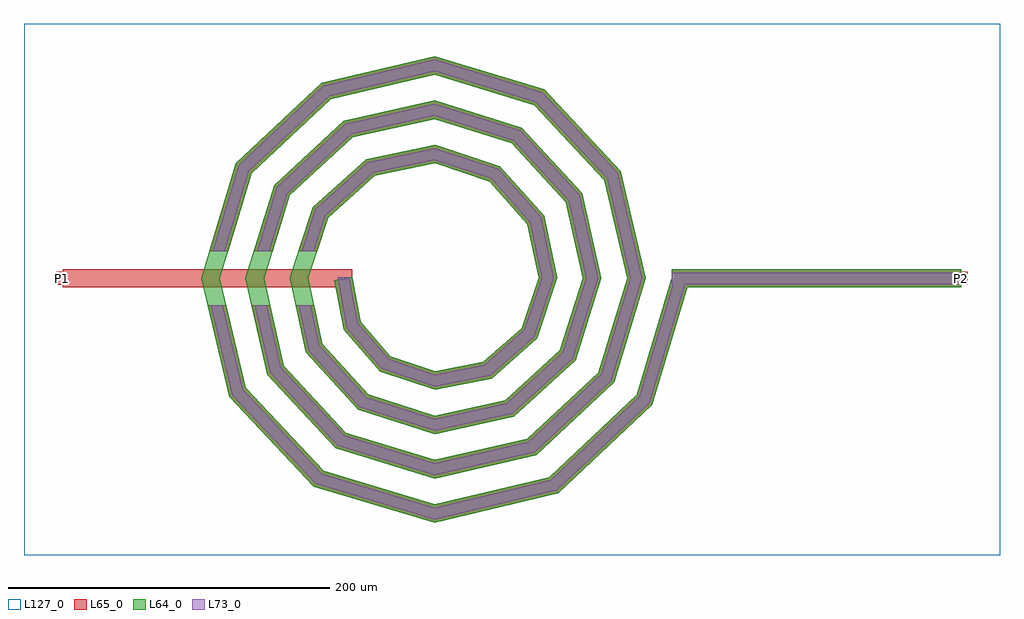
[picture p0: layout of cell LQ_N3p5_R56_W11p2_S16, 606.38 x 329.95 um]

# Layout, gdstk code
import gdstk
lib = gdstk.Library(unit=1e-6, precision=1e-09)
def R(c, l, rs):  # rectangles x0, y0, x1, y1
    for r in rs: c.add(gdstk.rectangle(r[:2], r[2:], *l))
def P(c, l, *ps):  # polygons
    for p in ps: c.add(gdstk.Polygon(p, *l))
L64_0 = (64, 0)
L65_0 = (65, 0)
L73_0 = (73, 0)
L127_0 = (127, 0)

lq_n3p5_r56_w11p2_s16 = lib.new_cell('LQ_N3p5_R56_W11p2_S16')
R(lq_n3p5_r56_w11p2_s16, L64_0, [(147.338,-5.6,327.338,5.6)])
P(lq_n3p5_r56_w11p2_s16, L64_0, [(-45.821,-26.94),(-27.372,-48.218),(0.39,-57.735),(30.34,-51.797),(54.152,-30.845),(64.612,0.352),(57.77,33.747),(34.312,60.091),(0.321,71.488),(-37.16,63.74),(-66.032,37.774),(-78.365,0.294),(-69.708,-40.577),(-41.233,-71.976),(0.272,-85.242),(43.997,-75.675),(77.922,-44.689),(92.12,0.253),(81.64,47.42),(48.143,83.87),(0.237,98.997),(-50.845,87.604),(-89.818,51.595),(-105.875,0.222),(-93.567,-54.272),(-55.045,-95.768),(0.209,-112.753),(57.7,-99.529),(101.718,-58.495),(119.63,0.198),(105.491,61.13),(61.943,107.669),(0.187,126.508),(-64.56,111.453),(-113.621,65.39),(-133.386,0.178),(-117.414,-67.991),(-68.836,-119.573),(0.17,-140.264),(71.423,-123.374),(125.526,-72.282),(147.571,1.601),(158.304,-1.601),(135.399,-78.363),(76.929,-133.58),(0.17,-151.855),(-74.93,-129.438),(-127.627,-73.483),(-144.977,0.178),(-123.477,71.499),(-70.036,121.674),(0.187,138.098),(68.068,117.516),(115.722,66.588),(131.22,0.198),(111.553,-64.638),(63.139,-109.771),(0.209,-124.341),(-61.209,-105.59),(-103.82,-59.689),(-117.463,0.222),(-99.627,57.781),(-56.238,97.87),(0.237,110.584),(54.355,93.662),(91.921,52.785),(103.705,0.253),(87.696,-50.931),(49.33,-85.973),(0.272,-96.826),(-47.509,-81.729),(-80.026,-45.872),(-89.947,0.294),(-75.76,44.089),(-42.411,74.081),(0.321,83.068),(40.674,69.788),(68.137,38.946),(76.188,0.352),(63.813,-37.262),(35.475,-62.197),(0.39,-69.308),(-33.857,-57.834),(-56.26,-31.997),(-62.145,-1.046),(-51.142,1.046)])
R(lq_n3p5_r56_w11p2_s16, L65_0, [(-231.044,-5.6,-51.044,5.6), (147.338,-5.6,327.338,5.6), (-235.044,-4,-227.044,4), (323.338,-4,331.338,4)])
P(lq_n3p5_r56_w11p2_s16, L65_0, [(-117.414,-67.991),(-68.836,-119.573),(0.17,-140.264),(71.423,-123.374),(125.526,-72.282),(147.572,1.601),(158.304,-1.601),(135.399,-78.363),(76.929,-133.58),(0.17,-151.855),(-74.931,-129.438),(-127.627,-73.483),(-140.978,-16.8),(-129.471,-16.8)],
  [(-93.567,-54.272),(-55.045,-95.768),(0.209,-112.753),(57.7,-99.53),(101.718,-58.495),(119.631,0.198),(105.491,61.13),(61.943,107.669),(0.187,126.508),(-64.56,111.453),(-113.621,65.39),(-128.268,16.8),(-139.966,16.8),(-123.477,71.499),(-70.036,121.674),(0.187,138.098),(68.068,117.516),(115.722,66.588),(131.22,0.198),(111.553,-64.638),(63.139,-109.771),(0.209,-124.341),(-61.209,-105.59),(-103.82,-59.689),(-113.587,-16.8),(-102.1,-16.8)],
  [(-69.708,-40.577),(-41.233,-71.976),(0.272,-85.242),(43.997,-75.675),(77.922,-44.689),(92.12,0.253),(81.64,47.42),(48.143,83.87),(0.237,98.997),(-50.845,87.604),(-89.818,51.595),(-100.6,16.8),(-112.326,16.8),(-99.627,57.781),(-56.238,97.87),(0.237,110.584),(54.355,93.662),(91.921,52.785),(103.705,0.253),(87.696,-50.931),(49.33,-85.973),(0.272,-96.826),(-47.509,-81.729),(-80.026,-45.872),(-86.274,-16.8),(-74.818,-16.8)],
  [(-27.372,-48.218),(0.39,-57.735),(30.34,-51.797),(54.152,-30.845),(64.612,0.352),(57.77,33.747),(34.312,60.091),(0.321,71.488),(-37.16,63.74),(-66.032,37.774),(-72.827,16.8),(-84.6,16.8),(-75.76,44.089),(-42.411,74.081),(0.321,83.068),(40.674,69.788),(68.137,38.946),(76.188,0.352),(63.813,-37.262),(35.475,-62.197),(0.39,-69.308),(-33.858,-57.834),(-56.26,-31.997),(-62.145,-1.046),(-51.142,1.046),(-45.821,-26.94)])
R(lq_n3p5_r56_w11p2_s16, L73_0, [(147.338,-3.6,327.338,3.6)])
P(lq_n3p5_r56_w11p2_s16, L73_0, [(-119.238,-68.972),(-69.925,-121.335),(0.109,-142.334),(72.406,-125.197),(127.289,-73.368),(149.488,1.029),(156.387,-1.029),(133.636,-77.277),(75.946,-131.757),(0.109,-149.785),(-73.842,-127.677),(-125.803,-72.502),(-138.923,-16.8),(-131.526,-16.8)],
  [(-95.398,-55.24),(-56.146,-97.522),(0.134,-114.822),(58.672,-101.358),(103.475,-59.592),(121.7,0.127),(107.318,62.104),(63.037,109.428),(0.121,128.578),(-65.538,113.278),(-115.381,66.481),(-130.357,16.8),(-137.877,16.8),(-121.717,70.408),(-69.058,119.849),(0.121,136.029),(66.974,115.757),(113.895,65.613),(129.15,0.127),(109.797,-63.541),(62.168,-107.942),(0.134,-122.272),(-60.108,-103.836),(-101.989,-58.722),(-111.535,-16.8),(-104.151,-16.8)],
  [(-71.551,-41.523),(-42.354,-73.718),(0.175,-87.311),(44.95,-77.514),(79.668,-45.804),(94.189,0.163),(83.476,48.378),(49.252,85.618),(0.152,101.066),(-51.808,89.437),(-91.57,52.7),(-102.694,16.8),(-110.232,16.8),(-97.875,56.677),(-55.275,96.037),(0.152,108.515),(53.246,91.913),(90.085,51.827),(101.637,0.163),(85.951,-49.816),(48.378,-84.134),(0.175,-94.758),(-46.388,-79.987),(-78.183,-44.926),(-84.228,-16.8),(-76.864,-16.8)],
  [(-28.53,-49.935),(0.251,-59.802),(31.257,-53.654),(55.877,-31.991),(66.679,0.226),(59.621,34.675),(35.448,61.822),(0.206,73.556),(-38.098,65.587),(-67.769,38.902),(-74.929,16.8),(-82.498,16.8),(-74.023,42.962),(-41.473,72.234),(0.206,81),(39.538,68.056),(66.286,38.017),(74.121,0.226),(62.088,-36.116),(34.558,-60.34),(0.251,-67.242),(-32.699,-56.117),(-54.396,-31.094),(-60.18,0.673),(-53.107,0.673),(-47.685,-27.843)])
R(lq_n3p5_r56_w11p2_s16, L127_0, [(-255.044,-171.855,351.338,158.098)])
lq_n3p5_r56_w11p2_s16.add(gdstk.Label('P2', (327.338,0), layer=65, texttype=0))
lq_n3p5_r56_w11p2_s16.add(gdstk.Label('P1', (-231.044,0), layer=65, texttype=0))
lq_n3p5_r56_w11p2_s16.add(gdstk.Label('P2', (331.338,0), layer=145, texttype=0))
lq_n3p5_r56_w11p2_s16.add(gdstk.Label('P1', (-235.044,0), layer=145, texttype=0))

lib.write_gds('LQ_N3p5_R56_W11p2_S16.gds')
